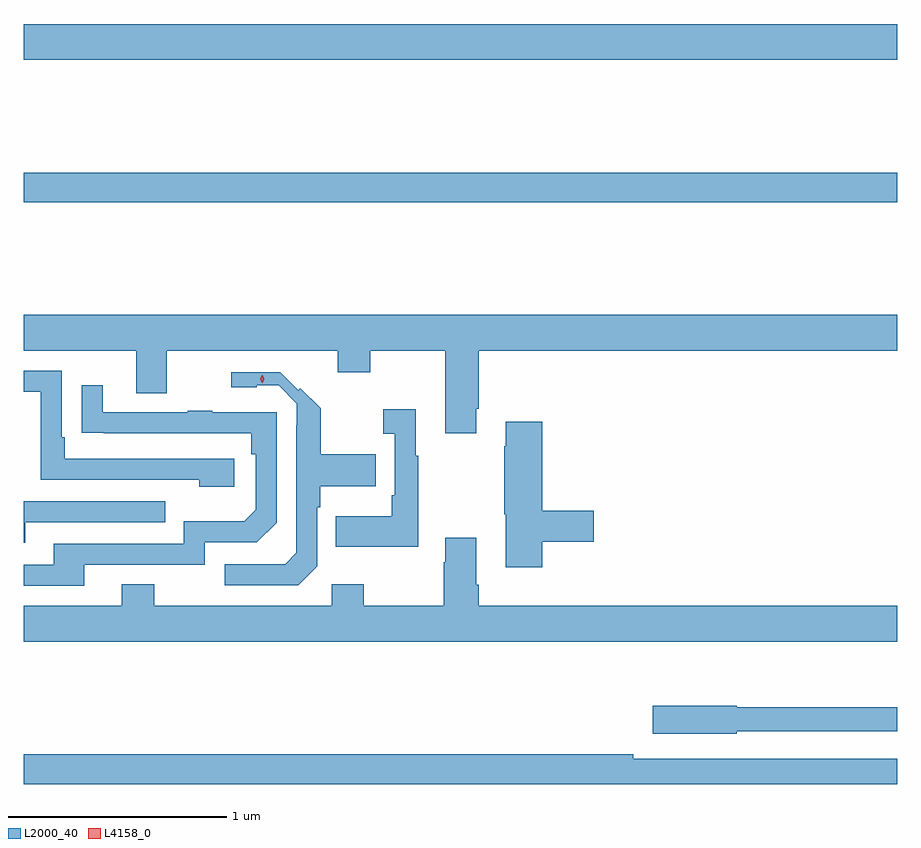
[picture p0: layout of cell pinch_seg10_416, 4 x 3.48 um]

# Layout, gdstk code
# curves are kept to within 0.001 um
import gdstk
lib = gdstk.Library(unit=1e-6, precision=1e-09)
def R(c, l, rs):  # rectangles x0, y0, x1, y1
    for r in rs: c.add(gdstk.rectangle(r[:2], r[2:], *l))
def P(c, l, *ps):  # polygons
    for p in ps: c.add(gdstk.Polygon(p, *l))
L2000_40 = (2000, 40)
L4158_0 = (4158, 0)

pinch_seg10_416 = lib.new_cell('pinch_seg10_416')
R(pinch_seg10_416, L2000_40, [(360.258,1324.972,364.258,1325.108), (360.258,1325.624,364.258,1325.788)])
P(pinch_seg10_416, L2000_40, [(362.329,1324.027),(362.342,1324.027),(362.342,1324.292),(364.258,1324.292),(364.258,1324.456),(360.258,1324.456),(360.258,1324.292),(360.773,1324.292),(360.773,1324.098),(360.913,1324.098),(360.913,1324.292),(361.697,1324.292),(361.697,1324.193),(361.845,1324.193),(361.845,1324.292),(362.189,1324.292),(362.189,1323.915),(362.329,1323.915)],
  [(361.222,1323.798),(360.445,1323.798),(360.445,1323.895),(360.432,1323.895),(360.432,1324.2),(360.258,1324.2),(360.258,1324.104),(360.336,1324.104),(360.336,1323.702),(361.061,1323.702),(361.061,1323.668),(361.222,1323.668)],
  [(361.602,1323.306),(361.602,1323.575),(361.615,1323.575),(361.615,1323.671),(361.871,1323.671),(361.871,1323.819),(361.617,1323.819),(361.617,1324.028),(361.525,1324.12),(361.516,1324.111),(361.432,1324.194),(361.209,1324.194),(361.209,1324.125),(361.324,1324.125),(361.324,1324.133),(361.426,1324.133),(361.509,1324.05),(361.509,1323.95),(361.506,1323.95),(361.506,1323.366),(361.455,1323.315),(361.179,1323.315),(361.179,1323.219),(361.515,1323.219)],
  [(360.535,1323.312),(361.086,1323.312),(361.086,1323.414),(361.326,1323.414),(361.416,1323.504),(361.416,1324.011),(361.121,1324.011),(361.121,1324.016),(361.009,1324.016),(361.009,1324.011),(360.619,1324.011),(360.619,1324.135),(360.523,1324.135),(360.523,1323.916),(361.3,1323.915),(361.3,1323.818),(361.32,1323.818),(361.32,1323.564),(361.267,1323.511),(360.99,1323.511),(360.99,1323.408),(360.395,1323.408),(360.395,1323.312),(360.258,1323.312),(360.258,1323.216),(360.535,1323.216)],
  [(362.065,1323.811),(362.053,1323.811),(362.053,1324.024),(361.905,1324.024),(361.905,1323.911),(361.956,1323.911),(361.956,1323.631),(361.944,1323.631),(361.944,1323.535),(361.687,1323.535),(361.687,1323.395),(362.065,1323.395)],
  [(362.633,1323.418),(362.869,1323.418),(362.869,1323.56),(362.633,1323.56),(362.633,1323.967),(362.465,1323.967),(362.465,1323.854),(362.458,1323.854),(362.458,1323.543),(362.465,1323.543),(362.465,1323.3),(362.633,1323.3)],
  [(360.265,1323.507),(360.905,1323.507),(360.905,1323.603),(360.258,1323.603),(360.258,1323.413),(360.265,1323.413)],
  [(364.258,1323.124),(362.342,1323.124),(362.342,1323.22),(362.329,1323.22),(362.329,1323.436),(362.189,1323.436),(362.189,1323.323),(362.182,1323.323),(362.182,1323.124),(361.815,1323.124),(361.815,1323.223),(361.668,1323.223),(361.668,1323.124),(360.855,1323.124),(360.855,1323.223),(360.707,1323.223),(360.707,1323.124),(360.258,1323.124),(360.258,1322.96),(364.258,1322.96)],
  [(363.522,1322.55),(364.258,1322.55),(364.258,1322.659),(363.522,1322.659),(363.522,1322.667),(363.138,1322.667),(363.138,1322.537),(363.522,1322.537)],
  [(364.258,1322.424),(363.05,1322.424),(363.05,1322.444),(360.258,1322.444),(360.258,1322.308),(364.258,1322.308)])
P(pinch_seg10_416, L4158_0, [(361.35,1324.142),(361.35,1324.142),(361.34,1324.161),(361.35,1324.181),(361.35,1324.181),(361.35,1324.181),(361.36,1324.161),(361.35,1324.142)])

lib.write_gds('pinch_seg10_416.gds')
